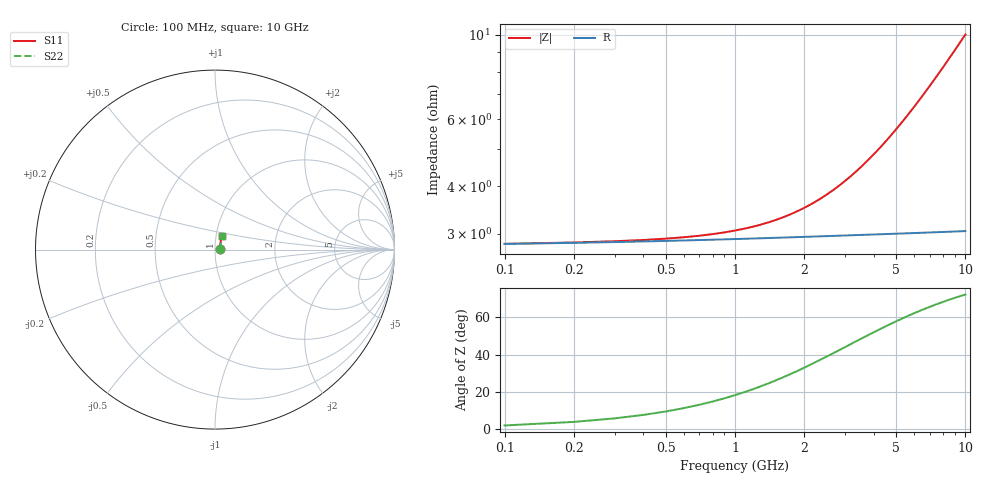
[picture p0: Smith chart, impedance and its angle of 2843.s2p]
# Hz S RI R 50.00
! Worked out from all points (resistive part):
!   100 points, 100 MHz to 10 GHz, reference 50 ohm
!   read as one part in series: R = 2.82 ohm at 100 MHz
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1e8  0.0274 0.000763  0.9726 -0.00105  0.9726 -0.00105  0.0274 0.000763
7e8  0.0281 0.00533  0.9719 -0.00731  0.9719 -0.00731  0.0281 0.00533
1e9  0.0283 0.00761  0.9717 -0.0104  0.9717 -0.0104  0.0283 0.00761
1.2e9  0.0284 0.00914  0.9716 -0.0125  0.9716 -0.0125  0.0284 0.00914
1.4e9  0.0285 0.0107  0.9715 -0.0146  0.9715 -0.0146  0.0285 0.0107
1.6e9  0.0287 0.0122  0.9713 -0.0167  0.9713 -0.0167  0.0287 0.0122
1.8e9  0.0288 0.0137  0.9712 -0.0188  0.9712 -0.0188  0.0288 0.0137
2.1e9  0.029 0.016  0.971 -0.0219  0.971 -0.0219  0.029 0.016
2.5e9  0.0292 0.019  0.9708 -0.0261  0.9708 -0.0261  0.0292 0.019
3.4e9  0.0298 0.0258  0.9701 -0.0354  0.9701 -0.0354  0.0298 0.0258
4.3e9  0.0305 0.0326  0.9694 -0.0448  0.9694 -0.0448  0.0305 0.0326
5.1e9  0.0312 0.0387  0.9686 -0.053  0.9686 -0.053  0.0312 0.0387
5.5e9  0.0316 0.0417  0.9682 -0.0572  0.9682 -0.0572  0.0316 0.0417
5.9e9  0.0321 0.0447  0.9678 -0.0613  0.9678 -0.0613  0.0321 0.0447
6.3e9  0.0325 0.0477  0.9673 -0.0654  0.9673 -0.0654  0.0325 0.0477
6.7e9  0.033 0.0507  0.9668 -0.0696  0.9668 -0.0696  0.033 0.0507
7.1e9  0.0334 0.0537  0.9663 -0.0737  0.9663 -0.0737  0.0334 0.0537
7.5e9  0.034 0.0566  0.9658 -0.0778  0.9658 -0.0778  0.034 0.0566
7.9e9  0.0345 0.0596  0.9652 -0.0819  0.9652 -0.0819  0.0345 0.0596
8.4e9  0.0352 0.0633  0.9645 -0.087  0.9645 -0.087  0.0352 0.0633
9.2e9  0.0364 0.0693  0.9632 -0.0952  0.9632 -0.0952  0.0364 0.0693
1e10  0.0377 0.0752  0.9619 -0.1034  0.9619 -0.1034  0.0377 0.0752
